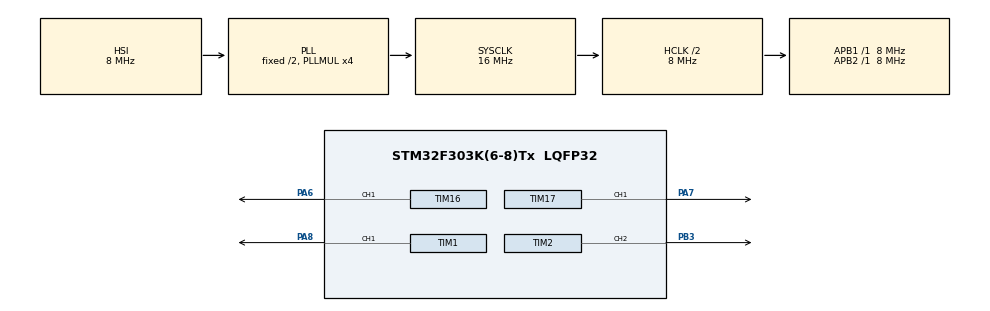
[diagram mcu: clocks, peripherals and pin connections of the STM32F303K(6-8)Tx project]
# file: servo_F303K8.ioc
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Mcu.Family=STM32F3
Mcu.Name=STM32F303K(6-8)Tx
Mcu.Package=LQFP32
NVIC.PriorityGroup=NVIC_PRIORITYGROUP_4
PA6.Signal=S_TIM16_CH1
PA7.Signal=S_TIM17_CH1
PA8.Signal=S_TIM1_CH1
PB3.Signal=S_TIM2_CH2
ProjectManager.HeapSize=0x200
ProjectManager.StackSize=0x400
ProjectManager.TargetToolchain=STM32CubeIDE
RCC.AHBCLKDivider=RCC_SYSCLK_DIV2
RCC.AHBFreq_Value=8000000
RCC.APB1Freq_Value=8000000
RCC.APB1TimFreq_Value=8000000
RCC.APB2Freq_Value=8000000
RCC.APB2TimFreq_Value=8000000
RCC.CortexFreq_Value=8000000
RCC.HCLKFreq_Value=8000000
RCC.HSE_VALUE=8000000
RCC.HSI_VALUE=8000000
RCC.PLLMUL=RCC_PLL_MUL4
RCC.SYSCLKFreq_VALUE=16000000
RCC.SYSCLKSourceVirtual=RCC_SYSCLKSOURCE_PLLCLK
SH.S_TIM16_CH1.0=TIM16_CH1,PWM Generation1 CH1
SH.S_TIM17_CH1.0=TIM17_CH1,PWM Generation1 CH1
SH.S_TIM1_CH1.0=TIM1_CH1,PWM Generation1 CH1
SH.S_TIM2_CH2.0=TIM2_CH2,PWM Generation2 CH2
TIM1.Channel-PWM\ Generation1\ CH1=TIM_CHANNEL_1
TIM1.Period=255
TIM1.Prescaler=624
TIM16.Channel=TIM_CHANNEL_1
TIM16.Period=255
TIM16.Prescaler=624
TIM17.Channel=TIM_CHANNEL_1
TIM17.Period=255
TIM17.Prescaler=624
TIM2.Channel-PWM\ Generation2\ CH2=TIM_CHANNEL_2
TIM2.Period=255
TIM2.Prescaler=625
VP_TIM16_VS_ClockSourceINT.Mode=Enable_Timer
VP_TIM17_VS_ClockSourceINT.Mode=Enable_Timer
VP_TIM1_VS_ClockSourceINT.Mode=Internal
VP_TIM2_VS_ClockSourceINT.Mode=Internal
board=custom

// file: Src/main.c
/* USER CODE BEGIN Header */
/**
  ******************************************************************************
  * @file           : main.c
  * @brief          : Main program body
  ******************************************************************************
  * @attention
  *
  * <h2><center>&copy; Copyright (c) 2020 STMicroelectronics.
  * All rights reserved.</center></h2>
  *
  * This software component is licensed by ST under BSD 3-Clause license,
  * the "License"; You may not use this file except in compliance with the
  * License. You may obtain a copy of the License at:
  *                        opensource.org/licenses/BSD-3-Clause
  *
  ******************************************************************************
  */
/* USER CODE END Header */

#include "main.h"

TIM_HandleTypeDef htim1;
TIM_HandleTypeDef htim2;
TIM_HandleTypeDef htim16;
TIM_HandleTypeDef htim17;

void SystemClock_Config(void);
static void MX_GPIO_Init(void);
static void MX_TIM1_Init(void);
static void MX_TIM2_Init(void);
static void MX_TIM16_Init(void);
static void MX_TIM17_Init(void);

int main(void)
{

  /* MCU Configuration--------------------------------------------------------*/

  /* Reset of all peripherals, Initializes the Flash interface and the Systick. */
  HAL_Init();

  /* Configure the system clock */
  SystemClock_Config();

  /* Initialize all configured peripherals */
  MX_GPIO_Init();
  MX_TIM1_Init();
  MX_TIM2_Init();
  MX_TIM16_Init();
  MX_TIM17_Init();
  /* USER CODE BEGIN 2 */
  char txbuf[30]={0};
   uint16_t value=0;
   short duty=1;

   HAL_TIM_PWM_Start(&htim1,TIM_CHANNEL_1);
   HAL_TIM_PWM_Start(&htim2,TIM_CHANNEL_2);
   HAL_TIM_PWM_Start(&htim16,TIM_CHANNEL_1);
   HAL_TIM_PWM_Start(&htim17,TIM_CHANNEL_1);

  /* USER CODE END 2 */

  /* Infinite loop */
  while (1)
  {

    /* USER CODE BEGIN 3 */

	  duty++;
	  if(duty >33){
		  duty=5;
	  }
	 __HAL_TIM_SET_COMPARE(&htim1,TIM_CHANNEL_1,duty);
	 __HAL_TIM_SET_COMPARE(&htim2,TIM_CHANNEL_2,duty);
	 __HAL_TIM_SET_COMPARE(&htim16,TIM_CHANNEL_1,duty);
	 __HAL_TIM_SET_COMPARE(&htim17,TIM_CHANNEL_1,duty);
	 HAL_Delay(1000);
//     duty=32;
//      __HAL_TIM_SET_COMPARE(&htim1,TIM_CHANNEL_1,duty);
//      __HAL_TIM_SET_COMPARE(&htim2,TIM_CHANNEL_2,50);
//      HAL_Delay(1000);

  }
  /* USER CODE END 3 */
}

void SystemClock_Config(void)
{
  RCC_OscInitTypeDef RCC_OscInitStruct = {0};
  RCC_ClkInitTypeDef RCC_ClkInitStruct = {0};
  RCC_PeriphCLKInitTypeDef PeriphClkInit = {0};

  /** Initializes the CPU, AHB and APB busses clocks
  */
  RCC_OscInitStruct.OscillatorType = RCC_OSCILLATORTYPE_HSI;
  RCC_OscInitStruct.HSIState = RCC_HSI_ON;
  RCC_OscInitStruct.HSICalibrationValue = RCC_HSICALIBRATION_DEFAULT;
  RCC_OscInitStruct.PLL.PLLState = RCC_PLL_ON;
  RCC_OscInitStruct.PLL.PLLSource = RCC_PLLSOURCE_HSI;
  RCC_OscInitStruct.PLL.PLLMUL = RCC_PLL_MUL4;
  if (HAL_RCC_OscConfig(&RCC_OscInitStruct) != HAL_OK)
  {
    Error_Handler();
  }
  /** Initializes the CPU, AHB and APB busses clocks
  */
  RCC_ClkInitStruct.ClockType = RCC_CLOCKTYPE_HCLK|RCC_CLOCKTYPE_SYSCLK
                              |RCC_CLOCKTYPE_PCLK1|RCC_CLOCKTYPE_PCLK2;
  RCC_ClkInitStruct.SYSCLKSource = RCC_SYSCLKSOURCE_PLLCLK;
  RCC_ClkInitStruct.AHBCLKDivider = RCC_SYSCLK_DIV2;
  RCC_ClkInitStruct.APB1CLKDivider = RCC_HCLK_DIV1;
  RCC_ClkInitStruct.APB2CLKDivider = RCC_HCLK_DIV1;

  if (HAL_RCC_ClockConfig(&RCC_ClkInitStruct, FLASH_LATENCY_0) != HAL_OK)
  {
    Error_Handler();
  }
  PeriphClkInit.PeriphClockSelection = RCC_PERIPHCLK_TIM1;
  PeriphClkInit.Tim1ClockSelection = RCC_TIM1CLK_HCLK;
  if (HAL_RCCEx_PeriphCLKConfig(&PeriphClkInit) != HAL_OK)
  {
    Error_Handler();
  }
}

static void MX_TIM1_Init(void)
{

  TIM_ClockConfigTypeDef sClockSourceConfig = {0};
  TIM_MasterConfigTypeDef sMasterConfig = {0};
  TIM_OC_InitTypeDef sConfigOC = {0};
  TIM_BreakDeadTimeConfigTypeDef sBreakDeadTimeConfig = {0};

  htim1.Instance = TIM1;
  htim1.Init.Prescaler = 624;
  htim1.Init.CounterMode = TIM_COUNTERMODE_UP;
  htim1.Init.Period = 255;
  htim1.Init.ClockDivision = TIM_CLOCKDIVISION_DIV1;
  htim1.Init.RepetitionCounter = 0;
  htim1.Init.AutoReloadPreload = TIM_AUTORELOAD_PRELOAD_DISABLE;
  if (HAL_TIM_Base_Init(&htim1) != HAL_OK)
  {
    Error_Handler();
  }
  sClockSourceConfig.ClockSource = TIM_CLOCKSOURCE_INTERNAL;
  if (HAL_TIM_ConfigClockSource(&htim1, &sClockSourceConfig) != HAL_OK)
  {
    Error_Handler();
  }
  if (HAL_TIM_PWM_Init(&htim1) != HAL_OK)
  {
    Error_Handler();
  }
  sMasterConfig.MasterOutputTrigger = TIM_TRGO_RESET;
  sMasterConfig.MasterOutputTrigger2 = TIM_TRGO2_RESET;
  sMasterConfig.MasterSlaveMode = TIM_MASTERSLAVEMODE_DISABLE;
  if (HAL_TIMEx_MasterConfigSynchronization(&htim1, &sMasterConfig) != HAL_OK)
  {
    Error_Handler();
  }
  sConfigOC.OCMode = TIM_OCMODE_PWM1;
  sConfigOC.Pulse = 0;
  sConfigOC.OCPolarity = TIM_OCPOLARITY_HIGH;
  sConfigOC.OCNPolarity = TIM_OCNPOLARITY_HIGH;
  sConfigOC.OCFastMode = TIM_OCFAST_DISABLE;
  sConfigOC.OCIdleState = TIM_OCIDLESTATE_RESET;
  sConfigOC.OCNIdleState = TIM_OCNIDLESTATE_RESET;
  if (HAL_TIM_PWM_ConfigChannel(&htim1, &sConfigOC, TIM_CHANNEL_1) != HAL_OK)
  {
    Error_Handler();
  }
  sBreakDeadTimeConfig.OffStateRunMode = TIM_OSSR_DISABLE;
  sBreakDeadTimeConfig.OffStateIDLEMode = TIM_OSSI_DISABLE;
  sBreakDeadTimeConfig.LockLevel = TIM_LOCKLEVEL_OFF;
  sBreakDeadTimeConfig.DeadTime = 0;
  sBreakDeadTimeConfig.BreakState = TIM_BREAK_DISABLE;
  sBreakDeadTimeConfig.BreakPolarity = TIM_BREAKPOLARITY_HIGH;
  sBreakDeadTimeConfig.BreakFilter = 0;
  sBreakDeadTimeConfig.Break2State = TIM_BREAK2_DISABLE;
  sBreakDeadTimeConfig.Break2Polarity = TIM_BREAK2POLARITY_HIGH;
  sBreakDeadTimeConfig.Break2Filter = 0;
  sBreakDeadTimeConfig.AutomaticOutput = TIM_AUTOMATICOUTPUT_DISABLE;
  if (HAL_TIMEx_ConfigBreakDeadTime(&htim1, &sBreakDeadTimeConfig) != HAL_OK)
  {
    Error_Handler();
  }
  HAL_TIM_MspPostInit(&htim1);

}

static void MX_TIM2_Init(void)
{

  TIM_ClockConfigTypeDef sClockSourceConfig = {0};
  TIM_MasterConfigTypeDef sMasterConfig = {0};
  TIM_OC_InitTypeDef sConfigOC = {0};

  htim2.Instance = TIM2;
  htim2.Init.Prescaler = 625;
  htim2.Init.CounterMode = TIM_COUNTERMODE_UP;
  htim2.Init.Period = 255;
  htim2.Init.ClockDivision = TIM_CLOCKDIVISION_DIV1;
  htim2.Init.AutoReloadPreload = TIM_AUTORELOAD_PRELOAD_DISABLE;
  if (HAL_TIM_Base_Init(&htim2) != HAL_OK)
  {
    Error_Handler();
  }
  sClockSourceConfig.ClockSource = TIM_CLOCKSOURCE_INTERNAL;
  if (HAL_TIM_ConfigClockSource(&htim2, &sClockSourceConfig) != HAL_OK)
  {
    Error_Handler();
  }
  if (HAL_TIM_PWM_Init(&htim2) != HAL_OK)
  {
    Error_Handler();
  }
  sMasterConfig.MasterOutputTrigger = TIM_TRGO_RESET;
  sMasterConfig.MasterSlaveMode = TIM_MASTERSLAVEMODE_DISABLE;
  if (HAL_TIMEx_MasterConfigSynchronization(&htim2, &sMasterConfig) != HAL_OK)
  {
    Error_Handler();
  }
  sConfigOC.OCMode = TIM_OCMODE_PWM1;
  sConfigOC.Pulse = 0;
  sConfigOC.OCPolarity = TIM_OCPOLARITY_HIGH;
  sConfigOC.OCFastMode = TIM_OCFAST_DISABLE;
  if (HAL_TIM_PWM_ConfigChannel(&htim2, &sConfigOC, TIM_CHANNEL_2) != HAL_OK)
  {
    Error_Handler();
  }
  HAL_TIM_MspPostInit(&htim2);

}

static void MX_TIM16_Init(void)
{

  TIM_OC_InitTypeDef sConfigOC = {0};
  TIM_BreakDeadTimeConfigTypeDef sBreakDeadTimeConfig = {0};

  htim16.Instance = TIM16;
  htim16.Init.Prescaler = 624;
  htim16.Init.CounterMode = TIM_COUNTERMODE_UP;
  htim16.Init.Period = 255;
  htim16.Init.ClockDivision = TIM_CLOCKDIVISION_DIV1;
  htim16.Init.RepetitionCounter = 0;
  htim16.Init.AutoReloadPreload = TIM_AUTORELOAD_PRELOAD_DISABLE;
  if (HAL_TIM_Base_Init(&htim16) != HAL_OK)
  {
    Error_Handler();
  }
  if (HAL_TIM_PWM_Init(&htim16) != HAL_OK)
  {
    Error_Handler();
  }
  sConfigOC.OCMode = TIM_OCMODE_PWM1;
  sConfigOC.Pulse = 0;
  sConfigOC.OCPolarity = TIM_OCPOLARITY_HIGH;
  sConfigOC.OCNPolarity = TIM_OCNPOLARITY_HIGH;
  sConfigOC.OCFastMode = TIM_OCFAST_DISABLE;
  sConfigOC.OCIdleState = TIM_OCIDLESTATE_RESET;
  sConfigOC.OCNIdleState = TIM_OCNIDLESTATE_RESET;
  if (HAL_TIM_PWM_ConfigChannel(&htim16, &sConfigOC, TIM_CHANNEL_1) != HAL_OK)
  {
    Error_Handler();
  }
  sBreakDeadTimeConfig.OffStateRunMode = TIM_OSSR_DISABLE;
  sBreakDeadTimeConfig.OffStateIDLEMode = TIM_OSSI_DISABLE;
  sBreakDeadTimeConfig.LockLevel = TIM_LOCKLEVEL_OFF;
  sBreakDeadTimeConfig.DeadTime = 0;
  sBreakDeadTimeConfig.BreakState = TIM_BREAK_DISABLE;
  sBreakDeadTimeConfig.BreakPolarity = TIM_BREAKPOLARITY_HIGH;
  sBreakDeadTimeConfig.BreakFilter = 0;
  sBreakDeadTimeConfig.AutomaticOutput = TIM_AUTOMATICOUTPUT_DISABLE;
  if (HAL_TIMEx_ConfigBreakDeadTime(&htim16, &sBreakDeadTimeConfig) != HAL_OK)
  {
    Error_Handler();
  }
  HAL_TIM_MspPostInit(&htim16);

}

static void MX_TIM17_Init(void)
{

  TIM_OC_InitTypeDef sConfigOC = {0};
  TIM_BreakDeadTimeConfigTypeDef sBreakDeadTimeConfig = {0};

  htim17.Instance = TIM17;
  htim17.Init.Prescaler = 624;
  htim17.Init.CounterMode = TIM_COUNTERMODE_UP;
  htim17.Init.Period = 255;
  htim17.Init.ClockDivision = TIM_CLOCKDIVISION_DIV1;
  htim17.Init.RepetitionCounter = 0;
  htim17.Init.AutoReloadPreload = TIM_AUTORELOAD_PRELOAD_DISABLE;
  if (HAL_TIM_Base_Init(&htim17) != HAL_OK)
  {
    Error_Handler();
  }
  if (HAL_TIM_PWM_Init(&htim17) != HAL_OK)
  {
    Error_Handler();
  }
  sConfigOC.OCMode = TIM_OCMODE_PWM1;
  sConfigOC.Pulse = 0;
  sConfigOC.OCPolarity = TIM_OCPOLARITY_HIGH;
  sConfigOC.OCNPolarity = TIM_OCNPOLARITY_HIGH;
  sConfigOC.OCFastMode = TIM_OCFAST_DISABLE;
  sConfigOC.OCIdleState = TIM_OCIDLESTATE_RESET;
  sConfigOC.OCNIdleState = TIM_OCNIDLESTATE_RESET;
  if (HAL_TIM_PWM_ConfigChannel(&htim17, &sConfigOC, TIM_CHANNEL_1) != HAL_OK)
  {
    Error_Handler();
  }
  sBreakDeadTimeConfig.OffStateRunMode = TIM_OSSR_DISABLE;
  sBreakDeadTimeConfig.OffStateIDLEMode = TIM_OSSI_DISABLE;
  sBreakDeadTimeConfig.LockLevel = TIM_LOCKLEVEL_OFF;
  sBreakDeadTimeConfig.DeadTime = 0;
  sBreakDeadTimeConfig.BreakState = TIM_BREAK_DISABLE;
  sBreakDeadTimeConfig.BreakPolarity = TIM_BREAKPOLARITY_HIGH;
  sBreakDeadTimeConfig.BreakFilter = 0;
  sBreakDeadTimeConfig.AutomaticOutput = TIM_AUTOMATICOUTPUT_DISABLE;
  if (HAL_TIMEx_ConfigBreakDeadTime(&htim17, &sBreakDeadTimeConfig) != HAL_OK)
  {
    Error_Handler();
  }
  HAL_TIM_MspPostInit(&htim17);

}

static void MX_GPIO_Init(void)
{

  /* GPIO Ports Clock Enable */
  __HAL_RCC_GPIOA_CLK_ENABLE();
  __HAL_RCC_GPIOB_CLK_ENABLE();

}

void Error_Handler(void)
{
}

/************************ (C) COPYRIGHT STMicroelectronics *****END OF FILE****/
